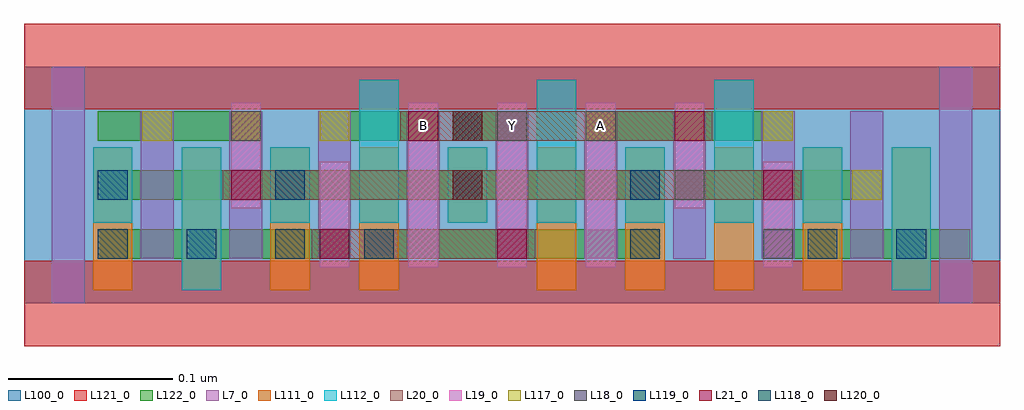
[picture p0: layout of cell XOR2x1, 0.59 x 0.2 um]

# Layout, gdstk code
import gdstk
lib = gdstk.Library(unit=1e-6, precision=2.5e-10)
def R(c, l, rs):  # rectangles x0, y0, x1, y1
    for r in rs: c.add(gdstk.rectangle(r[:2], r[2:], *l))
def A(c, l, x, y, w, h, nx, ny, dx, dy):  # array of equal rectangles
    R(c, l, [(x+i*dx, y+j*dy, x+i*dx+w, y+j*dy+h) for i in range(nx) for j in range(ny)])
L7_0 = (7, 0)
L18_0 = (18, 0)
L19_0 = (19, 0)
L20_0 = (20, 0)
L21_0 = (21, 0)
L100_0 = (100, 0)
L111_0 = (111, 0)
L112_0 = (112, 0)
L117_0 = (117, 0)
L118_0 = (118, 0)
L119_0 = (119, 0)
L120_0 = (120, 0)
L121_0 = (121, 0)
L122_0 = (122, 0)

xor2x1 = lib.new_cell('XOR2x1')
A(xor2x1, L7_0, 0.071, 0.027, 0.02, 0.09, 9, 1, 0.054, 0)
R(xor2x1, L7_0, [(0.017,0,0.037,0.144), (0.557,0,0.577,0.144)])
A(xor2x1, L18_0, 0.234, 0.099, 0.018, 0.018, 3, 1, 0.054, 0)
R(xor2x1, L18_0, [(0.18,0.027,0.198,0.045), (0.45,0.027,0.468,0.045), (0.396,0.063,0.414,0.081), (0.126,0.099,0.144,0.117)])
A(xor2x1, L19_0, 0.234, 0.022, 0.018, 0.1, 3, 1, 0.054, 0)
R(xor2x1, L19_0, [(0.18,0.022,0.198,0.086), (0.45,0.022,0.468,0.086), (0.126,0.058,0.144,0.122), (0.396,0.058,0.414,0.122)])
R(xor2x1, L20_0, [(0.175,0.027,0.311,0.045), (0.121,0.063,0.473,0.081), (0.229,0.099,0.419,0.117)])
R(xor2x1, L21_0, [(0.18,0.027,0.198,0.045), (0.288,0.027,0.306,0.045), (0.126,0.063,0.144,0.081), (0.45,0.063,0.468,0.081), (0.234,0.099,0.252,0.117), (0.396,0.099,0.414,0.117)])
R(xor2x1, L100_0, [(0,0,0.594,0.144)])
A(xor2x1, L111_0, 0.042, 0.008, 0.024, 0.087, 4, 1, 0.054, 0)
A(xor2x1, L111_0, 0.312, 0.008, 0.024, 0.087, 5, 1, 0.054, 0)
R(xor2x1, L111_0, [(0.258,0.049,0.282,0.095)])
A(xor2x1, L112_0, 0.042, 0.049, 0.024, 0.046, 5, 1, 0.108, 0)
A(xor2x1, L112_0, 0.204, 0.049, 0.024, 0.087, 3, 1, 0.108, 0)
R(xor2x1, L112_0, [(0.096,0.008,0.12,0.095), (0.528,0.008,0.552,0.095)])
A(xor2x1, L117_0, 0.072, 0.099, 0.018, 0.018, 4, 1, 0.054, 0)
A(xor2x1, L117_0, 0.342, 0.099, 0.018, 0.018, 3, 1, 0.054, 0)
R(xor2x1, L117_0, [(0.504,0.063,0.522,0.081)])
R(xor2x1, L118_0, [(0.045,0.027,0.063,0.045), (0.153,0.027,0.171,0.045), (0.207,0.027,0.225,0.045), (0.369,0.027,0.387,0.045), (0.477,0.027,0.495,0.045)])
A(xor2x1, L119_0, 0.045, 0.063, 0.018, 0.018, 4, 1, 0.108, 0)
R(xor2x1, L119_0, [(0.099,0.027,0.117,0.045), (0.531,0.027,0.549,0.045), (0.261,0.099,0.279,0.117)])
R(xor2x1, L120_0, [(0.261,0.063,0.279,0.081), (0.261,0.099,0.279,0.117)])
R(xor2x1, L121_0, [(0,-0.026,0.594,0.026), (0,0.118,0.594,0.17)])
R(xor2x1, L122_0, [(0.045,0.027,0.198,0.045), (0.207,0.027,0.387,0.045), (0.45,0.027,0.576,0.045), (0.045,0.063,0.387,0.081), (0.396,0.063,0.522,0.081), (0.045,0.099,0.144,0.117), (0.18,0.099,0.252,0.117), (0.261,0.099,0.306,0.117), (0.342,0.099,0.468,0.117)])
xor2x1.add(gdstk.Label('Y', (0.297,0.108), layer=19, texttype=251))
xor2x1.add(gdstk.Label('B', (0.243,0.108), layer=19, texttype=251))
xor2x1.add(gdstk.Label('A', (0.351,0.108), layer=19, texttype=251))

lib.write_gds('XOR2x1.gds')
